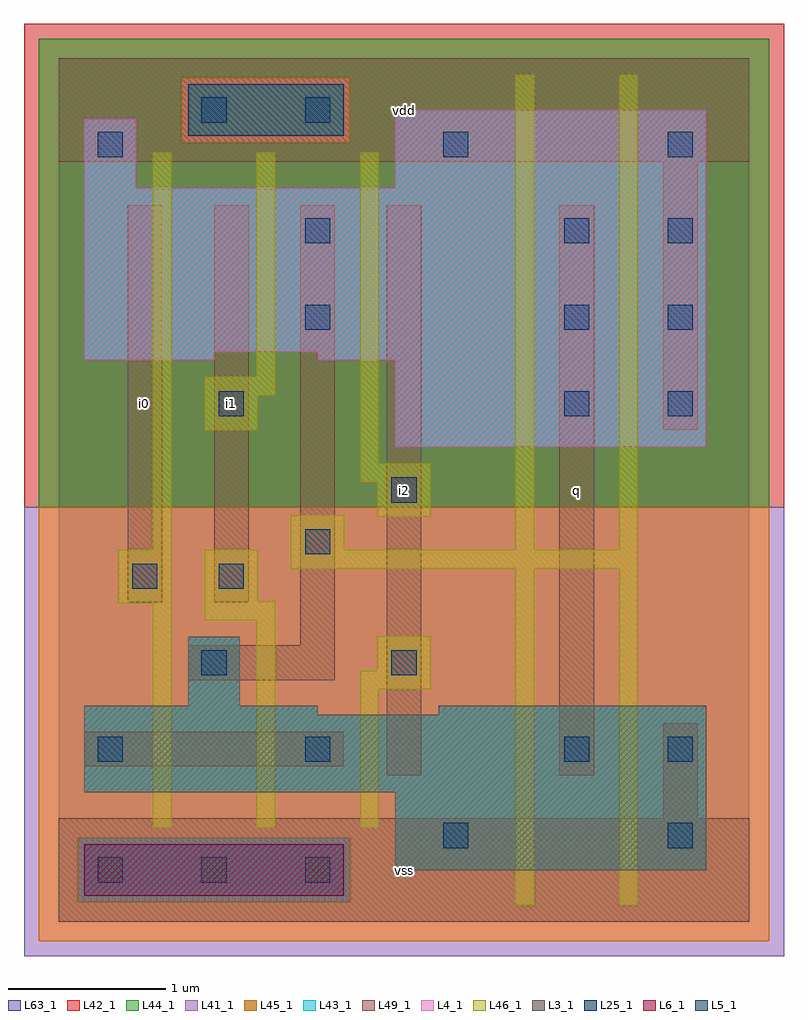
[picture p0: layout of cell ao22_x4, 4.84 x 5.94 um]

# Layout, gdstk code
import gdstk
lib = gdstk.Library(unit=1e-6, precision=1e-09)
def R(c, l, rs):  # rectangles x0, y0, x1, y1
    for r in rs: c.add(gdstk.rectangle(r[:2], r[2:], *l))
def A(c, l, x, y, w, h, nx, ny, dx, dy):  # array of equal rectangles
    R(c, l, [(x+i*dx, y+j*dy, x+i*dx+w, y+j*dy+h) for i in range(nx) for j in range(ny)])
L3_1 = (3, 1)
L4_1 = (4, 1)
L5_1 = (5, 1)
L6_1 = (6, 1)
L25_1 = (25, 1)
L41_1 = (41, 1)
L42_1 = (42, 1)
L43_1 = (43, 1)
L44_1 = (44, 1)
L45_1 = (45, 1)
L46_1 = (46, 1)
L49_1 = (49, 1)
L63_1 = (63, 1)

ao22_x4 = lib.new_cell('ao22_x4')
R(ao22_x4, L3_1, [(2.145,0.33,4.125,0.825), (0.165,0.825,4.125,1.32), (0.165,1.32,1.65,1.375), (2.42,1.32,4.125,1.375), (0.825,1.375,1.155,1.815)])
R(ao22_x4, L4_1, [(2.145,3.025,4.125,3.575), (0.165,3.575,0.99,3.63), (1.65,3.575,4.125,3.63), (0.165,3.63,4.125,4.675), (0.165,4.675,0.495,5.115), (2.145,4.675,4.125,5.17)])
R(ao22_x4, L5_1, [(0.825,5.005,1.815,5.335)])
R(ao22_x4, L6_1, [(0.165,0.165,1.815,0.495)])
A(ao22_x4, L25_1, 0.25, 0.25, 0.16, 0.16, 3, 1, 0.66, 0)
A(ao22_x4, L25_1, 3.22, 3.22, 0.16, 0.16, 1, 3, 0, 0.55)
A(ao22_x4, L25_1, 3.88, 3.22, 0.16, 0.16, 1, 4, 0, 0.55)
R(ao22_x4, L25_1, [(2.45,0.47,2.61,0.63), (3.88,0.47,4.04,0.63), (0.25,1.02,0.41,1.18), (1.57,1.02,1.73,1.18), (3.22,1.02,3.38,1.18), (3.88,1.02,4.04,1.18), (0.91,1.57,1.07,1.73), (2.12,1.57,2.28,1.73), (0.47,2.12,0.63,2.28), (1.02,2.12,1.18,2.28), (1.57,2.34,1.73,2.5), (2.12,2.67,2.28,2.83), (1.02,3.22,1.18,3.38), (1.57,3.77,1.73,3.93), (1.57,4.32,1.73,4.48), (0.25,4.87,0.41,5.03), (2.45,4.87,2.61,5.03), (0.91,5.09,1.07,5.25), (1.57,5.09,1.73,5.25)])
R(ao22_x4, L41_1, [(-0.22,-0.22,4.62,2.64)])
R(ao22_x4, L42_1, [(-0.22,2.64,4.62,5.72)])
R(ao22_x4, L43_1, [(0.165,0.165,1.815,0.495), (2.145,0.33,4.125,0.825), (0.165,0.825,4.125,1.32), (0.165,1.32,1.65,1.375), (2.42,1.32,4.125,1.375), (0.825,1.375,1.155,1.815), (2.145,3.025,4.125,3.575), (0.165,3.575,0.99,3.63), (1.65,3.575,4.125,3.63), (0.165,3.63,4.125,4.675), (0.165,4.675,0.495,5.115), (2.145,4.675,4.125,5.17), (0.825,5.005,1.815,5.335)])
R(ao22_x4, L44_1, [(0.125,0.125,1.855,0.535), (-0.125,2.64,4.525,4.965), (-0.125,4.965,0.785,5.375), (1.855,4.965,4.525,5.375), (-0.125,5.375,4.525,5.625)])
R(ao22_x4, L45_1, [(-0.125,-0.125,4.525,0.125), (-0.125,0.125,0.125,0.535), (1.855,0.125,4.525,0.535), (-0.125,0.535,4.525,2.64), (0.785,4.965,1.855,5.375)])
R(ao22_x4, L46_1, [(2.91,0.105,3.03,2.25), (3.57,0.105,3.69,2.25), (0.6,0.6,0.72,2.03), (1.26,0.6,1.38,1.92), (1.92,0.6,2.04,1.48), (1.92,1.48,2.37,1.6), (2.03,1.6,2.37,1.82), (0.93,1.92,1.38,2.04), (0.38,2.03,0.72,2.37), (0.93,2.04,1.27,2.37), (1.48,2.25,3.69,2.37), (0.6,2.37,0.72,4.9), (1.48,2.37,1.82,2.59), (2.91,2.37,3.03,5.395), (3.57,2.37,3.69,5.395), (2.03,2.58,2.37,2.8), (1.92,2.8,2.37,2.92), (1.92,2.92,2.04,4.9), (0.93,3.13,1.27,3.35), (0.93,3.35,1.38,3.47), (1.26,3.47,1.38,4.9)])
R(ao22_x4, L49_1, [(0,0,4.4,0.66), (3.85,0.66,4.07,1.265), (2.09,0.935,2.31,4.565), (3.19,0.935,3.41,4.565), (0.165,0.99,1.815,1.21), (0.825,1.54,1.76,1.76), (1.54,1.76,1.76,4.565), (0.44,2.035,0.66,4.565), (0.99,2.035,1.21,4.565), (3.85,3.135,4.07,4.84), (0,4.84,4.4,5.5)])
R(ao22_x4, L63_1, [(0,0,4.4,5.5)])
ao22_x4.add(gdstk.Label('i0', (0.55,3.3), layer=49, texttype=1))
ao22_x4.add(gdstk.Label('i1', (1.1,3.3), layer=49, texttype=1))
ao22_x4.add(gdstk.Label('vss', (2.2,0.33), layer=49, texttype=1))
ao22_x4.add(gdstk.Label('i2', (2.2,2.75), layer=49, texttype=1))
ao22_x4.add(gdstk.Label('vdd', (2.2,5.17), layer=49, texttype=1))
ao22_x4.add(gdstk.Label('q', (3.3,2.75), layer=49, texttype=1))

lib.write_gds('ao22_x4.gds')
